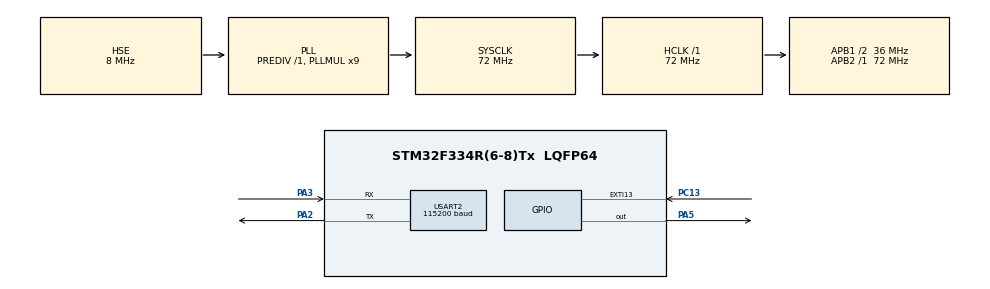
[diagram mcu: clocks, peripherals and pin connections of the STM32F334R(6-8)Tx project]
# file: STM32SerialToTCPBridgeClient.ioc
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CRC.InputDataInversionMode=CRC_INPUTDATA_INVERSION_BYTE
CRC.OutputDataInversionMode=CRC_OUTPUTDATA_INVERSION_ENABLE
Mcu.Family=STM32F3
Mcu.Name=STM32F334R(6-8)Tx
Mcu.Package=LQFP64
NVIC.EXTI15_10_IRQn=true\:2\:0\:true\:false\:true
NVIC.PriorityGroup=NVIC_PRIORITYGROUP_4
NVIC.USART2_IRQn=true\:1\:0\:true\:false\:true
PA2.Mode=Asynchronous
PA2.Signal=USART2_TX
PA3.Mode=Asynchronous
PA3.Signal=USART2_RX
PA5.Signal=GPIO_Output
PC13.GPIO_ModeDefaultEXTI=GPIO_MODE_IT_RISING
PC13.Signal=GPXTI13
PF0\ /\ OSC_IN.Mode=HSE-External-Clock-Source
PF0\ /\ OSC_IN.Signal=RCC_OSC_IN
ProjectManager.HeapSize=0x200
ProjectManager.StackSize=0x400
ProjectManager.TargetToolchain=TrueSTUDIO
RCC.AHBFreq_Value=72000000
RCC.APB1CLKDivider=RCC_HCLK_DIV2
RCC.APB1Freq_Value=36000000
RCC.APB1TimFreq_Value=72000000
RCC.APB2Freq_Value=72000000
RCC.APB2TimFreq_Value=72000000
RCC.CortexFreq_Value=72000000
RCC.HCLKFreq_Value=72000000
RCC.HSE_VALUE=8000000
RCC.HSIState=RCC_HSI_ON
RCC.HSI_VALUE=8000000
RCC.LSE_VALUE=32768
RCC.PLLMUL=RCC_PLL_MUL9
RCC.PLLSourceVirtual=RCC_PLLSOURCE_HSE
RCC.SYSCLKFreq_VALUE=72000000
RCC.SYSCLKSourceVirtual=RCC_SYSCLKSOURCE_PLLCLK
USART2.BaudRate=115200
USART2.WordLength=UART_WORDLENGTH_8B
VP_CRC_VS_CRC.Mode=CRC_Activate
board=STM32SerialToTCPBridgeClient

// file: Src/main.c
/**
  ******************************************************************************
  * File Name          : main.c
  * Description        : Main program body
  ******************************************************************************
  *
  * COPYRIGHT(c) 2016 STMicroelectronics
  *
  * Redistribution and use in source and binary forms, with or without modification,
  * are permitted provided that the following conditions are met:
  *   1. Redistributions of source code must retain the above copyright notice,
  *      this list of conditions and the following disclaimer.
  *   2. Redistributions in binary form must reproduce the above copyright notice,
  *      this list of conditions and the following disclaimer in the documentation
  *      and/or other materials provided with the distribution.
  *   3. Neither the name of STMicroelectronics nor the names of its contributors
  *      may be used to endorse or promote products derived from this software
  *      without specific prior written permission.
  *
  * THIS SOFTWARE IS PROVIDED BY THE COPYRIGHT HOLDERS AND CONTRIBUTORS "AS IS"
  * AND ANY EXPRESS OR IMPLIED WARRANTIES, INCLUDING, BUT NOT LIMITED TO, THE
  * IMPLIED WARRANTIES OF MERCHANTABILITY AND FITNESS FOR A PARTICULAR PURPOSE ARE
  * DISCLAIMED. IN NO EVENT SHALL THE COPYRIGHT HOLDER OR CONTRIBUTORS BE LIABLE
  * FOR ANY DIRECT, INDIRECT, INCIDENTAL, SPECIAL, EXEMPLARY, OR CONSEQUENTIAL
  * DAMAGES (INCLUDING, BUT NOT LIMITED TO, PROCUREMENT OF SUBSTITUTE GOODS OR
  * SERVICES; LOSS OF USE, DATA, OR PROFITS; OR BUSINESS INTERRUPTION) HOWEVER
  * CAUSED AND ON ANY THEORY OF LIABILITY, WHETHER IN CONTRACT, STRICT LIABILITY,
  * OR TORT (INCLUDING NEGLIGENCE OR OTHERWISE) ARISING IN ANY WAY OUT OF THE USE
  * OF THIS SOFTWARE, EVEN IF ADVISED OF THE POSSIBILITY OF SUCH DAMAGE.
  *
  ******************************************************************************
  */
#include "stm32f3xx_hal.h"
#include "crc.h"
#include "usart.h"
#include "gpio.h"

/* USER CODE BEGIN Includes */
#include <string.h>
#include "PubSubClient.h"
/* USER CODE END Includes */

/* USER CODE BEGIN PV */
/* Private variables ---------------------------------------------------------*/
Client connection;
PubSubClient mqttConnection;
bool buttonPressed;
/* USER CODE END PV */

void SystemClock_Config(void);
void Error_Handler(void);

/* USER CODE BEGIN PFP */
/* Private function prototypes -----------------------------------------------*/

/* USER CODE END PFP */

/* USER CODE BEGIN 0 */

// Serial Protocol specific
void HAL_UART_TxCpltCallback(UART_HandleTypeDef *huart)
{
	uartTxCompleteCallback(&connection);
}

void HAL_UART_RxCpltCallback(UART_HandleTypeDef *huart)
{
	uartRxCompleteCallback(&connection);
}

void HAL_SYSTICK_Callback(void)
{
	tickInterupt(&connection);
}

// Application Example specific
void HAL_GPIO_EXTI_Callback(uint16_t GPIO_Pin)
{
  static uint32_t debounce;
  if (GPIO_Pin == GPIO_PIN_13)
  {
    uint32_t now = HAL_GetTick();
    if (now - debounce > 200)
    {
      buttonPressed = true;
      debounce = now;
    }
  }
}

void MQTTCallbek(char* topic, uint8_t* payload, unsigned int length)
{
	if (length == 1)
	{
		// DEBUG LED
		if (payload[0] == 0x31)
		{
			HAL_GPIO_WritePin(GPIOA, GPIO_PIN_5, GPIO_PIN_SET);
		} else if (payload[0] == 0x32)
		{
			HAL_GPIO_WritePin(GPIOA, GPIO_PIN_5, GPIO_PIN_RESET);
		}
	}
}
/* USER CODE END 0 */

int main(void)
{

  /* MCU Configuration----------------------------------------------------------*/

  /* Reset of all peripherals, Initializes the Flash interface and the Systick. */
  HAL_Init();

  /* Configure the system clock */
  SystemClock_Config();

  /* Initialize all configured peripherals */
  MX_GPIO_Init();
  MX_CRC_Init();
  MX_USART2_UART_Init();

  /* USER CODE BEGIN 2 */
	/****************************
	 * User Application Example *
	 ****************************/

	// MQTT Connection details
	const char* id = "stm32BABY";
	const char* user = NULL;
	const char* pass = NULL;
	const char* willTopic = NULL;
	const char* willMsg = NULL;

	// MQTT Message info
	const char* publishTopic = "stm32f334";
	const char* subscribeTopic = "led/#";
	const char* publishMsg = "Hello i5! I am a STM32F3!\n";

	newClient(&connection, &huart2, &hcrc);
	uint8_t address[4] = {127, 0, 0, 1}; // MQTT Broker on host PC on port 1883
	newPubSubClient(&mqttConnection, address, 1883, MQTTCallbek, &connection);
	bool connectedAfter = false;
	bool subscribeOnce = false;
  /* USER CODE END 2 */

  /* Infinite loop */
  /* USER CODE BEGIN WHILE */
	HAL_Delay(4000); // Wait 4s for power stabilization and usb enumeration.
	while (1)
	{
  /* USER CODE END WHILE */

  /* USER CODE BEGIN 3 */
		if (!connectedAfter)
		{
			connectedAfter = true;
			mqttConnection.connect(&mqttConnection, id, user, pass, willTopic, 0, false, willMsg);
		}
		if (buttonPressed)
		{
			buttonPressed = false;
			if (!subscribeOnce)
			{
				subscribeOnce = true;
				mqttConnection.subscribe(&mqttConnection, subscribeTopic, 0);
			}
			mqttConnection.publish(&mqttConnection, publishTopic, (const uint8_t*)publishMsg, strlen(publishMsg), false);
		}
		mqttConnection.loop(&mqttConnection);
	}
  /* USER CODE END 3 */

}

/** System Clock Configuration
*/
void SystemClock_Config(void)
{

  RCC_OscInitTypeDef RCC_OscInitStruct;
  RCC_ClkInitTypeDef RCC_ClkInitStruct;

  RCC_OscInitStruct.OscillatorType = RCC_OSCILLATORTYPE_HSE;
  RCC_OscInitStruct.HSEState = RCC_HSE_BYPASS;
  RCC_OscInitStruct.HSEPredivValue = RCC_HSE_PREDIV_DIV1;
  RCC_OscInitStruct.PLL.PLLState = RCC_PLL_ON;
  RCC_OscInitStruct.PLL.PLLSource = RCC_PLLSOURCE_HSE;
  RCC_OscInitStruct.PLL.PLLMUL = RCC_PLL_MUL9;
  if (HAL_RCC_OscConfig(&RCC_OscInitStruct) != HAL_OK)
  {
    Error_Handler();
  }

  RCC_ClkInitStruct.ClockType = RCC_CLOCKTYPE_HCLK|RCC_CLOCKTYPE_SYSCLK
                              |RCC_CLOCKTYPE_PCLK1|RCC_CLOCKTYPE_PCLK2;
  RCC_ClkInitStruct.SYSCLKSource = RCC_SYSCLKSOURCE_PLLCLK;
  RCC_ClkInitStruct.AHBCLKDivider = RCC_SYSCLK_DIV1;
  RCC_ClkInitStruct.APB1CLKDivider = RCC_HCLK_DIV2;
  RCC_ClkInitStruct.APB2CLKDivider = RCC_HCLK_DIV1;
  if (HAL_RCC_ClockConfig(&RCC_ClkInitStruct, FLASH_LATENCY_2) != HAL_OK)
  {
    Error_Handler();
  }

  HAL_SYSTICK_Config(HAL_RCC_GetHCLKFreq()/1000);

  HAL_SYSTICK_CLKSourceConfig(SYSTICK_CLKSOURCE_HCLK);

  /* SysTick_IRQn interrupt configuration */
  HAL_NVIC_SetPriority(SysTick_IRQn, 0, 0);
}

void Error_Handler(void)
{
  while(1)
  {
  }
}

/************************ (C) COPYRIGHT STMicroelectronics *****END OF FILE****/
